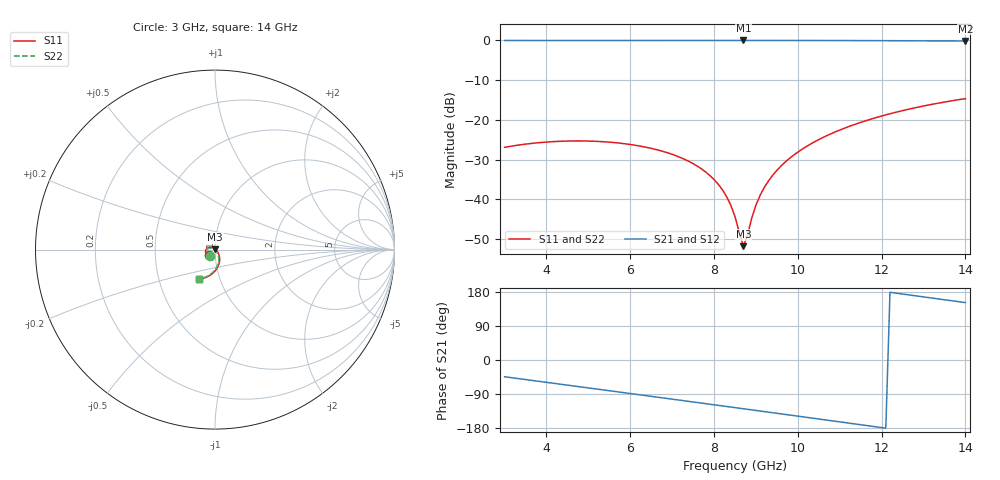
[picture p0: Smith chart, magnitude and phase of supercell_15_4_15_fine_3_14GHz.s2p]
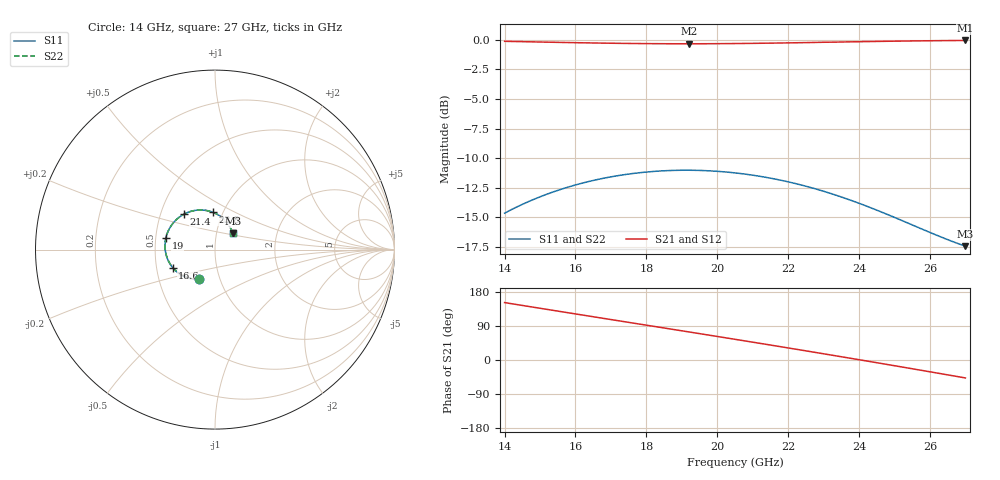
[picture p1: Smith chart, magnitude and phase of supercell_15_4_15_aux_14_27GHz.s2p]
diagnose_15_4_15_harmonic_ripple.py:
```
#!/usr/bin/env python3
"""Diagnose the s2/i2 contribution to ripple at the selected 15-4-15 point.

This is a controlled follow-up to ``ablate_15_4_15_modes.py``.  It separates
the signal and idler second harmonics, computes the linear phase mismatch of
the direct and cross-coupling processes present in the eight-mode model, and
checks that the reported gain does not depend on the requested output-position
resolution (``thin``).  The ODE solver itself already uses rtol=1e-10 and
atol=1e-14 in twpasolver.
"""

from __future__ import annotations

import csv
import json
import logging
import sys
from pathlib import Path

import matplotlib

matplotlib.use("Agg")
import matplotlib.pyplot as plt
import numpy as np

ROOT = Path(__file__).resolve().parents[1]
sys.path[:0] = [str(ROOT / "code"), str(ROOT / "scripts")]

from analyze_hfss_supercell import read_touchstone  # noqa: E402
from hfss_bloch import apply_bloch_parameters  # noqa: E402
from scan_hfss_loading_pattern import make_cell  # noqa: E402
from twpa_project_utils import gain_metrics, load_hfss_cell_parameters  # noqa: E402
from twpasolver import TWPAnalysis  # noqa: E402
from twpasolver.logger import log  # noqa: E402
from twpasolver.models import TWPA  # noqa: E402
from twpasolver.modes_rwa import ModeArrayFactory  # noqa: E402


PUMP = 11.2
IDC = 350e-6
IP0 = 290e-6
IS0 = 1.4e-6
REPEATS = 900
CELL_LENGTH_MM = 0.002


MODE_CONFIGS = {
    "basic": (
        ["p", "s", "i"],
        [["i", "p-s"]],
    ),
    "basic_plus_s2": (
        ["p", "s", "i", "s2"],
        [["i", "p-s"], ["s2", "s+s"]],
    ),
    "basic_plus_i2": (
        ["p", "s", "i", "i2"],
        [["i", "p-s"], ["i2", "i+i"]],
    ),
    "all_except_s2_i2": (
        ["p", "s", "i", "ps", "pi", "p2"],
        [["i", "p-s"], ["ps", "p+s"], ["pi", "p+i"], ["p2", "p+p"]],
    ),
    "all_except_i2": (
        ["p", "s", "i", "ps", "pi", "p2", "s2"],
        [
            ["i", "p-s"],
            ["ps", "p+s"],
            ["pi", "p+i"],
            ["p2", "p+p"],
            ["s2", "s+s"],
        ],
    ),
    "all_except_s2": (
        ["p", "s", "i", "ps", "pi", "p2", "i2"],
        [
            ["i", "p-s"],
            ["ps", "p+s"],
            ["pi", "p+i"],
            ["p2", "p+p"],
            ["i2", "i+i"],
        ],
    ),
    "all_8_modes": (
        ["p", "s", "i", "ps", "pi", "p2", "s2", "i2"],
        [
            ["i", "p-s"],
            ["ps", "p+s"],
            ["pi", "p+i"],
            ["p2", "p+p"],
            ["s2", "s+s"],
            ["i2", "i+i"],
        ],
    ),
}


def build_analysis() -> tuple[TWPAnalysis, dict[str, object]]:
    inputs = ROOT / "hfss_inputs"
    cells, provenance = load_hfss_cell_parameters(inputs / "hfss_cell_parameters.csv")
    f1, s1 = read_touchstone(inputs / "supercell_15_4_15_fine_3_14GHz.s2p")
    f2, s2 = read_touchstone(inputs / "supercell_15_4_15_aux_14_27GHz.s2p")
    if not np.isclose(f1[-1], f2[0]) or not np.allclose(s1[-1], s2[0], atol=1e-12):
        raise ValueError("The 15-4-15 HFSS sweeps disagree at 14 GHz")
    measured_f = np.concatenate((f1, f2[1:]))
    measured_s = np.concatenate((s1, s2[1:]), axis=0)

    twpa = TWPA(
        cells=[
            make_cell(cells["unloaded"], 15),
            make_cell(cells["loaded"], 4),
            make_cell(cells["unloaded"], 15),
        ],
        N=REPEATS,
        Istar=2e-3,
        Idc=IDC,
        Ip0=IP0,
    )
    analysis = TWPAnalysis(twpa=twpa, f_arange=(0.2, 30.0, 0.002), unit="GHz")
    analysis.update_base_data()
    bloch_provenance = apply_bloch_parameters(
        analysis.data, measured_f, measured_s, 34
    )
    return analysis, {**provenance, "bloch_extraction": bloch_provenance}


def phase_mismatches(analysis: TWPAnalysis, signal: np.ndarray) -> dict[str, np.ndarray]:
    base_f = np.asarray(analysis.data["freqs"], dtype=float)
    base_k = np.asarray(analysis.data["k"], dtype=float)

    def k(freq: np.ndarray | float) -> np.ndarray:
        return np.interp(freq, base_f, base_k)

    s = np.asarray(signal)
    i = PUMP - s
    ps = PUMP + s
    pi = PUMP + i
    p2 = 2 * PUMP
    s2 = 2 * s
    i2 = 2 * i
    # Values are converted from rad per 2 um physical cell to rad/mm.
    scale = 1.0 / CELL_LENGTH_MM
    return {
        "p_minus_s_i": (k(PUMP) - k(s) - k(i)) * scale,
        "p_s_minus_ps": (k(PUMP) + k(s) - k(ps)) * scale,
        "p_i_minus_pi": (k(PUMP) + k(i) - k(pi)) * scale,
        "2p_minus_p2": np.full_like(s, (2 * k(PUMP) - k(p2)) * scale),
        "2s_minus_s2": (2 * k(s) - k(s2)) * scale,
        "2i_minus_i2": (2 * k(i) - k(i2)) * scale,
        "ps_minus_i_s2": (k(ps) - k(i) - k(s2)) * scale,
        "pi_minus_s_i2": (k(pi) - k(s) - k(i2)) * scale,
        "p2_minus_s2_i2": (k(p2) - k(s2) - k(i2)) * scale,
    }


def metrics(signal: np.ndarray, gain: np.ndarray) -> dict[str, object]:
    row = gain_metrics(signal, gain, band=(4.0, 8.0))
    row["minimum_in_band_gain_db"] = float(np.min(gain))
    row["maximum_in_band_gain_db"] = float(np.max(gain))
    row["minimum_gain_frequency_GHz"] = float(signal[np.argmin(gain)])
    return row


def main() -> None:
    log.setLevel(logging.WARNING)
    output = ROOT / "results" / "bloch_corrected" / "step_24_15_4_15_harmonic_diagnosis"
    output.mkdir(parents=True, exist_ok=True)
    analysis, provenance = build_analysis()

    for name, (labels, relations) in MODE_CONFIGS.items():
        modes = ModeArrayFactory.create_custom(
            analysis.data,
            mode_labels=labels,
            mode_directions=[1] * len(labels),
            relations=relations,
        )
        analysis.add_mode_array(name, modes)

    signal = np.arange(4.0, 8.0001, 0.05)
    curves: dict[str, np.ndarray] = {}
    rows: list[dict[str, object]] = []
    for name, (labels, _) in MODE_CONFIGS.items():
        result = analysis.gain(
            signal,
            pump=PUMP,
            Is0=IS0,
            model="general",
            mode_array_config=name,
            thin=300,
            save=False,
        )
        gain = np.asarray(result["gain_db"], dtype=float)
        if not np.all(np.isfinite(gain)):
            raise RuntimeError(f"Non-finite result for {name}")
        curves[name] = gain
        rows.append({"configuration": name, "included_modes": labels, **metrics(signal, gain)})

    # ``thin`` changes only returned evaluation positions. Agreement confirms
    # that the final endpoint and reported gain are independent of that output grid.
    resolution_curves: dict[str, np.ndarray] = {}
    for thin in (150, 300, 600):
        result = analysis.gain(
            signal,
            pump=PUMP,
            Is0=IS0,
            model="general",
            mode_array_config="all_8_modes",
            thin=thin,
            save=False,
        )
        resolution_curves[str(thin)] = np.asarray(result["gain_db"], dtype=float)
    reference = resolution_curves["300"]
    resolution_differences = {
        key: float(np.max(np.abs(value - reference)))
        for key, value in resolution_curves.items()
    }

    mismatch = phase_mismatches(analysis, signal)
    full = next(row for row in rows if row["configuration"] == "all_8_modes")
    min_index = int(np.argmin(curves["all_8_modes"]))
    at_main_dip = {key: float(value[min_index]) for key, value in mismatch.items()}
    nearest_phase_match = {
        key: {
            "signal_GHz": float(signal[np.argmin(np.abs(value))]),
            "absolute_mismatch_rad_per_mm": float(np.min(np.abs(value))),
        }
        for key, value in mismatch.items()
    }

    baseline = curves["all_except_s2_i2"]
    family_effects = {
        "add_s2_only_to_complete_without_harmonics": {
            "maximum_absolute_gain_change_db": float(
                np.max(np.abs(curves["all_except_i2"] - baseline))
            ),
            "gain_change_at_full_model_dip_db": float(
                curves["all_except_i2"][min_index] - baseline[min_index]
            ),
        },
        "add_i2_only_to_complete_without_harmonics": {
            "maximum_absolute_gain_change_db": float(
                np.max(np.abs(curves["all_except_s2"] - baseline))
            ),
            "gain_change_at_full_model_dip_db": float(
                curves["all_except_s2"][min_index] - baseline[min_index]
            ),
        },
    }

    with (output / "01_split_mode_metrics.csv").open("w", newline="") as handle:
        writer = csv.DictWriter(handle, fieldnames=list(rows[0]))
        writer.writeheader()
        writer.writerows(rows)
    with (output / "02_split_mode_curves.csv").open("w", newline="") as handle:
        writer = csv.writer(handle)
        writer.writerow(["signal_GHz", *curves])
        writer.writerows(zip(signal, *(curves[key] for key in curves)))
    with (output / "03_phase_mismatch.csv").open("w", newline="") as handle:
        writer = csv.writer(handle)
        writer.writerow(["signal_GHz", *mismatch])
        writer.writerows(zip(signal, *(mismatch[key] for key in mismatch)))

    assessment = {
        "status": "15_4_15_Bloch_corrected_s2_i2_diagnosis",
        "operating_point": {
            "pump_GHz": PUMP,
            "device_length_mm": 61.2,
            "supercell_repeats": REPEATS,
            "Idc_A": IDC,
            "Ip0_A": IP0,
            "Is0_A": IS0,
        },
        "full_model_metrics": full,
        "split_mode_metrics": {row["configuration"]: row for row in rows},
        "individual_harmonic_effects_relative_to_no_s2_i2": family_effects,
        "linear_phase_mismatch_at_full_model_main_dip_rad_per_mm": at_main_dip,
        "nearest_linear_phase_match_in_4_to_8_GHz": nearest_phase_match,
        "output_resolution_max_gain_difference_db": resolution_differences,
        "solver_tolerances_from_installed_twpasolver": {"rtol": 1e-10, "atol": 1e-14},
        "hfss_cell_fit_provenance": provenance,
        "cautions": [
            "Linear phase mismatch alone does not include pump-induced nonlinear phase shifts.",
            "Mode-family effects are nonlinear and therefore are not additive.",
            "The output-resolution check is not an independent ODE-tolerance implementation.",
        ],
    }
    (output / "04_assessment.json").write_text(json.dumps(assessment, indent=2) + "\n")

    fig, axes = plt.subplots(2, 2, figsize=(15, 10), sharex=True)
    ax = axes[0, 0]
    for name in ("all_8_modes", "all_except_s2_i2", "all_except_i2", "all_except_s2"):
        ax.plot(signal, curves[name], label=name)
    ax.axhline(17, color="black", linestyle=":", linewidth=1)
    ax.set(title="Separate s2 and i2 in the complete model", ylabel="Gain (dB)")
    ax.legend(fontsize=8)

    ax = axes[0, 1]
    for name in ("basic", "basic_plus_s2", "basic_plus_i2"):
        ax.plot(signal, curves[name], label=name)
    ax.set(title="Each second harmonic added to basic p/s/i", ylabel="Gain (dB)")
    ax.legend(fontsize=8)

    ax = axes[1, 0]
    for name in ("2s_minus_s2", "2i_minus_i2", "ps_minus_i_s2", "pi_minus_s_i2"):
        ax.plot(signal, mismatch[name], label=name)
    ax.axhline(0, color="black", linestyle=":", linewidth=1)
    ax.axvline(signal[min_index], color="grey", linestyle="--", linewidth=1)
    ax.set(
        title="Second-harmonic linear phase mismatches",
        xlabel="Signal frequency (GHz)",
        ylabel="Mismatch (rad/mm)",
    )
    ax.legend(fontsize=8)

    ax = axes[1, 1]
    ax.plot(signal, curves["all_8_modes"], color="black", label="all_8_modes gain")
    ax2 = ax.twinx()
    ax2.plot(signal, np.abs(mismatch["2s_minus_s2"]), label="|2s-s2|", alpha=0.8)
    ax2.plot(signal, np.abs(mismatch["2i_minus_i2"]), label="|2i-i2|", alpha=0.8)
    ax2.plot(signal, np.abs(mismatch["ps_minus_i_s2"]), label="|ps-i-s2|", alpha=0.8)
    ax2.plot(signal, np.abs(mismatch["pi_minus_s_i2"]), label="|pi-s-i2|", alpha=0.8)
    ax.set(title="Gain versus harmonic mismatch", xlabel="Signal frequency (GHz)", ylabel="Gain (dB)")
    ax2.set_ylabel("Absolute mismatch (rad/mm)")
    lines1, labels1 = ax.get_legend_handles_labels()
    lines2, labels2 = ax2.get_legend_handles_labels()
    ax.legend(lines1 + lines2, labels1 + labels2, fontsize=8)

    fig.suptitle("15-4-15 harmonic ripple diagnosis at 11.2 GHz")
    fig.tight_layout()
    fig.savefig(output / "05_harmonic_diagnosis.png", dpi=180)
    fig.savefig(output / "05_harmonic_diagnosis.pdf")
    plt.close(fig)

    print(json.dumps({
        "full_model": full,
        "family_effects": family_effects,
        "at_main_dip": at_main_dip,
        "resolution_differences": resolution_differences,
    }, indent=2))


if __name__ == "__main__":
    main()
```
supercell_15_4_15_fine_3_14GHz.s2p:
! Touchstone file exported from HFSS 2026.1.0
!  Generated:  01:10:25 PM Aug 20, 2026
!  Design:  HFSSDesign_Supercell_15_4_15
!  Project:  15-4-15_super_cell
!  Setup:  Setup1
!  Solution:  Sweep_16_2_16_fine
! Variables:
!  stub_length = 12.1um
# GHz S MA R 50.000000
! Terminal data exported
! Port[1] = Port1
! Port[2] = Port2
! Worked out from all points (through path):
!   111 points, 3 GHz to 14 GHz, reference 50 ohm
!   highest |S21| = 0.00 dB at 8.7 GHz (marker M1); lowest = -0.2 dB at 14 GHz (marker M2)
!   group delay of S21, straight-line fit = 41.5 ps
!   lowest |S11| = -51.7 dB at 8.7 GHz (marker M3), VSWR 1.01, Z = 50.1 + j0.218 ohm
!   |S11| at or under -10 dB: start of sweep to end of sweep
!   |S22| runs from -51.7 to -14.6 dB; largest |S21 - S12| = 0.00023
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3  0.04529 -136.7  0.999 -44.2  0.999 -44.2  0.04529 -131.8
! Gamma 0 2588.53611777122 9.04066273999306E-32 2601.38380860688
! Port Impedance 50 0 50 0
5  0.0543 -166.0  0.9985 -73.7  0.9985 -73.7  0.0543 -161.4
6.8  0.03997 166.2  0.9992 -100.4  0.9992 -100.4  0.03997 173.1
7.9  0.02003 146.1  0.9998 -116.7  0.9998 -116.7  0.02003 160.5
8.3  0.01087 133.7  0.9999 -122.7  0.9999 -122.7  0.01087 160.9
8.5  0.006097 119.5  1 -125.7  1 -125.7  0.006097 169.2
8.7  0.002588 57.0  1 -128.7  1 -128.7  0.002588 -134.3
9.2  0.01419 -35.6  0.9999 -136.2  0.9999 -136.2  0.01419 -56.7
10.1  0.0428 -56.2  0.9991 -149.7  0.9991 -149.7  0.0428 -63.2
12  0.1121 -87.1  0.9937 -178.4  0.9937 -178.4  0.1121 -89.6
14  0.1854 -117.9  0.9827 151.5  0.9827 151.5  0.1854 -119.1
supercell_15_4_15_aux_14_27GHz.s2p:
! Touchstone file exported from HFSS 2026.1.0
!  Generated:  01:09:50 PM Aug 20, 2026
!  Design:  HFSSDesign_Supercell_15_4_15
!  Project:  15-4-15_super_cell
!  Setup:  Setup1
!  Solution:  Sweep_16_2_16_aux
! Variables:
!  stub_length = 12.1um
# GHz S MA R 50.000000
! Terminal data exported
! Port[1] = Port1
! Port[2] = Port2
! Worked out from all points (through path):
!   66 points, 14 GHz to 27 GHz, reference 50 ohm
!   highest |S21| = -0.08 dB at 27 GHz (marker M1); lowest = -0.4 dB at 19.2 GHz (marker M2)
!   group delay of S21, straight-line fit = 42.3 ps
!   lowest |S11| = -17.4 dB at 27 GHz (marker M3), VSWR 1.31, Z = 59.8 + j11.2 ohm
!   |S11| at or under -10 dB: start of sweep to end of sweep
!   |S22| runs from -17.4 to -11.0 dB; largest |S21 - S12| = 0.0007
!   S11 on the Smith chart (normalised r, x): 14 GHz: 0.80, -0.27; 16.6 GHz: 0.61, -0.13; 19 GHz: 0.57, +0.08; 21.4 GHz: 0.66, +0.28; 23.8 GHz: 0.89, +0.39; 27 GHz: 1.20, +0.22
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14  0.1854 -117.9  0.9827 151.5  0.9827 151.5  0.1854 -119.1
! Gamma 0 12079.8651550384 0 12139.8222072022
! Port Impedance 50 0 50 0
16.6  0.2567 -157.1  0.9665 112.7  0.9665 112.7  0.2567 -157.6
17.8  0.2745 -175.0  0.9616 94.9  0.9616 94.9  0.2745 -175.3
19  0.2813 167.1  0.9596 77.0  0.9596 77.0  0.2813 167.0
19.2  0.2813 164.1  0.9596 74.1  0.9596 74.1  0.2813 164.0
20.6  0.273 143.1  0.962 53.1  0.962 53.1  0.273 143.1
21.4  0.2621 130.9  0.965 41.0  0.965 41.0  0.2621 131.1
22.6  0.2387 112.5  0.9711 22.6  0.9711 22.6  0.2387 112.7
23.8  0.2093 93.8  0.9778 3.9  0.9779 3.9  0.2093 94.0
25.4  0.1679 68.4  0.9858 -21.5  0.9858 -21.5  0.1679 68.6
27  0.1346 42.8  0.9909 -47.3  0.9909 -47.3  0.1346 42.5
